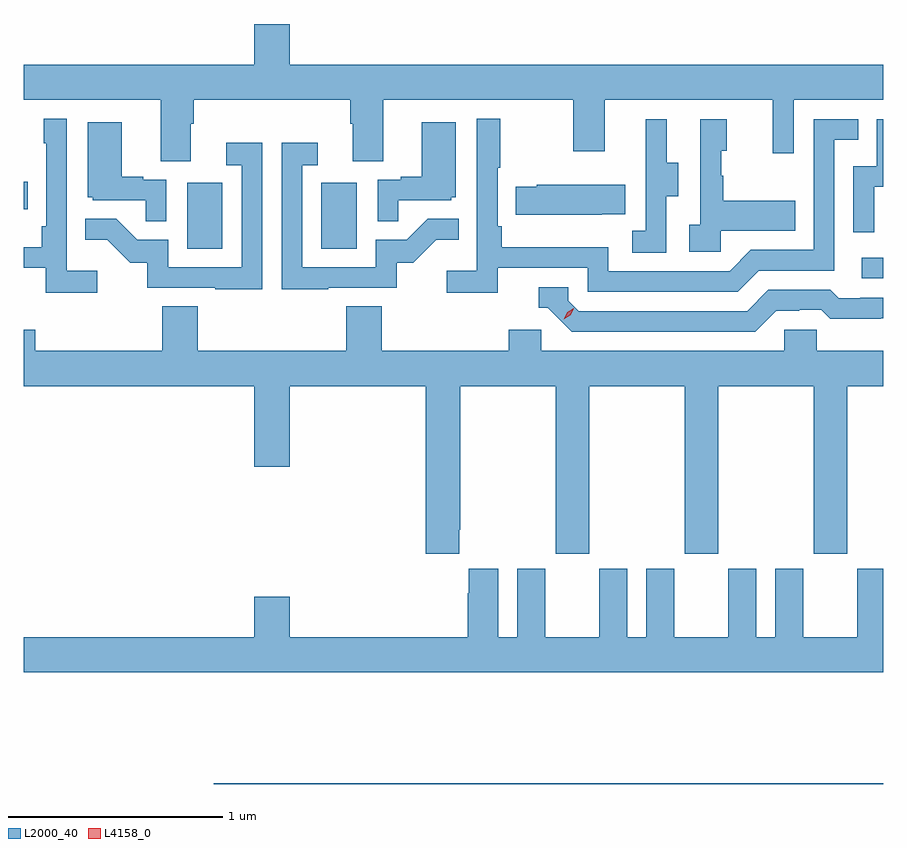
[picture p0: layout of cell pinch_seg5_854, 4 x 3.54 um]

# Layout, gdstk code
import gdstk
lib = gdstk.Library(unit=1e-6, precision=1e-09)
def R(c, l, rs):  # rectangles x0, y0, x1, y1
    for r in rs: c.add(gdstk.rectangle(r[:2], r[2:], *l))
def P(c, l, *ps):  # polygons
    for p in ps: c.add(gdstk.Polygon(p, *l))
L2000_40 = (2000, 40)
L4158_0 = (4158, 0)

pinch_seg5_854 = lib.new_cell('pinch_seg5_854')
R(pinch_seg5_854, L2000_40, [(824.159,890.873,827.275,890.876), (827.175,893.226,827.275,893.322), (824.036,893.364,824.2,893.671), (824.66,893.364,824.824,893.671), (823.275,893.546,823.295,893.676)])
P(pinch_seg5_854, L2000_40, [(824.053,893.944),(824.066,893.944),(824.066,894.056),(824.795,894.056),(824.795,893.944),(824.807,893.944),(824.807,893.77),(824.947,893.77),(824.947,894.056),(825.832,894.056),(825.832,893.817),(825.979,893.817),(825.979,894.056),(826.76,894.056),(826.76,893.808),(826.857,893.808),(826.857,894.056),(827.275,894.056),(827.275,894.22),(824.512,894.22),(824.512,894.409),(824.348,894.409),(824.348,894.22),(823.275,894.22),(823.275,894.056),(823.913,894.056),(823.913,893.77),(824.053,893.77)],
  [(823.618,893.26),(823.476,893.26),(823.476,893.968),(823.368,893.968),(823.368,893.855),(823.38,893.855),(823.38,893.467),(823.36,893.467),(823.36,893.371),(823.275,893.371),(823.275,893.274),(823.379,893.274),(823.379,893.158),(823.618,893.158)],
  [(825.482,893.274),(825.9,893.274),(825.9,893.163),(826.597,893.163),(826.696,893.262),(827.046,893.262),(827.046,893.871),(827.159,893.871),(827.159,893.967),(826.95,893.967),(826.95,893.358),(826.659,893.358),(826.56,893.259),(825.996,893.259),(825.996,893.371),(825.5,893.371),(825.5,893.467),(825.48,893.467),(825.48,893.74),(825.493,893.74),(825.493,893.968),(825.384,893.968),(825.384,893.26),(825.243,893.26),(825.243,893.158),(825.482,893.158)],
  [(827.232,893.651),(827.275,893.651),(827.275,893.967),(827.244,893.967),(827.244,893.748),(827.136,893.748),(827.136,893.439),(827.232,893.439)],
  [(826.518,893.447),(826.865,893.447),(826.865,893.587),(826.531,893.587),(826.531,893.702),(826.521,893.702),(826.521,893.82),(826.546,893.82),(826.546,893.965),(826.422,893.965),(826.422,893.474),(826.371,893.474),(826.371,893.349),(826.518,893.349)],
  [(826.266,893.608),(826.321,893.608),(826.321,893.763),(826.267,893.763),(826.267,893.965),(826.169,893.965),(826.169,893.751),(826.17,893.751),(826.17,893.447),(826.107,893.447),(826.107,893.344),(826.266,893.344)],
  [(823.938,893.685),(823.832,893.685),(823.832,893.698),(823.732,893.698),(823.732,893.953),(823.574,893.953),(823.574,893.604),(823.596,893.604),(823.596,893.589),(823.843,893.589),(823.843,893.491),(823.938,893.491)],
  [(825.017,893.589),(825.264,893.589),(825.264,893.604),(825.286,893.604),(825.286,893.953),(825.128,893.953),(825.128,893.698),(825.029,893.698),(825.029,893.685),(824.922,893.685),(824.922,893.491),(825.017,893.491)],
  [(824.385,893.857),(824.217,893.857),(824.217,893.751),(824.289,893.751),(824.289,893.277),(823.947,893.277),(823.947,893.406),(823.803,893.406),(823.705,893.504),(823.561,893.504),(823.561,893.405),(823.665,893.405),(823.772,893.298),(823.849,893.298),(823.849,893.181),(824.167,893.181),(824.167,893.176),(824.385,893.176)],
  [(824.693,893.181),(825.012,893.181),(825.012,893.298),(825.088,893.298),(825.195,893.405),(825.299,893.405),(825.299,893.504),(825.155,893.504),(825.057,893.406),(824.913,893.406),(824.913,893.277),(824.571,893.277),(824.571,893.751),(824.644,893.751),(824.644,893.857),(824.475,893.857),(824.475,893.176),(824.693,893.176)],
  [(825.965,893.525),(826.073,893.525),(826.073,893.662),(825.663,893.662),(825.663,893.652),(825.565,893.652),(825.565,893.522),(825.965,893.522)],
  [(826.777,893.076),(826.884,893.076),(826.884,893.079),(826.987,893.079),(827.029,893.037),(827.262,893.037),(827.262,893.039),(827.275,893.039),(827.275,893.136),(827.167,893.136),(827.167,893.133),(827.068,893.133),(827.029,893.172),(826.74,893.172),(826.641,893.073),(825.858,893.073),(825.81,893.121),(825.81,893.184),(825.671,893.184),(825.671,893.088),(825.714,893.088),(825.825,892.977),(826.678,892.977)],
  [(826.815,892.888),(825.684,892.888),(825.684,892.986),(825.533,892.986),(825.533,892.888),(824.942,892.888),(824.942,893.096),(824.777,893.096),(824.777,892.888),(824.084,892.888),(824.084,893.096),(823.919,893.096),(823.919,892.888),(823.328,892.888),(823.328,892.986),(823.275,892.986),(823.275,892.724),(824.348,892.724),(824.348,892.35),(824.512,892.35),(824.512,892.724),(825.146,892.724),(825.146,891.945),(825.301,891.945),(825.301,892.057),(825.306,892.057),(825.306,892.724),(825.751,892.724),(825.751,891.945),(825.906,891.945),(825.906,892.724),(826.351,892.724),(826.351,891.945),(826.506,891.945),(826.506,892.724),(826.951,892.724),(826.951,891.945),(827.106,891.945),(827.106,892.724),(827.275,892.724),(827.275,892.888),(826.965,892.888),(826.965,892.986),(826.815,892.986)],
  [(827.275,891.874),(827.153,891.874),(827.153,891.556),(826.903,891.556),(826.903,891.874),(826.772,891.874),(826.772,891.556),(826.684,891.556),(826.684,891.874),(826.553,891.874),(826.553,891.556),(826.303,891.556),(826.303,891.874),(826.172,891.874),(826.172,891.556),(826.084,891.556),(826.084,891.874),(825.953,891.874),(825.953,891.556),(825.703,891.556),(825.703,891.874),(825.572,891.874),(825.572,891.556),(825.484,891.556),(825.484,891.874),(825.347,891.874),(825.347,891.761),(825.341,891.761),(825.341,891.556),(824.512,891.556),(824.512,891.745),(824.348,891.745),(824.348,891.556),(823.275,891.556),(823.275,891.392),(827.275,891.392)])
P(pinch_seg5_854, L4158_0, [(825.787,893.035),(825.787,893.035),(825.804,893.067),(825.835,893.086),(825.835,893.086),(825.835,893.085),(825.818,893.053),(825.788,893.035)])

lib.write_gds('pinch_seg5_854.gds')
